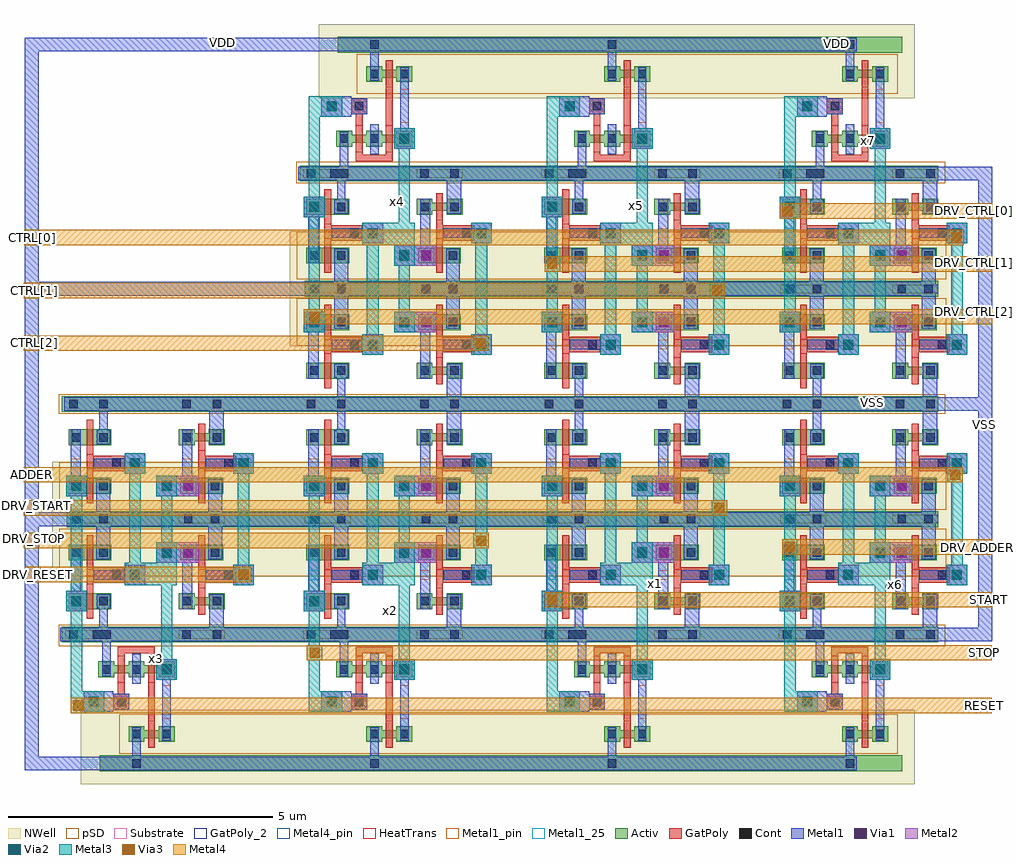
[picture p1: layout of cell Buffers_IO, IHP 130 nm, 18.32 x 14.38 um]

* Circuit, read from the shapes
.subckt Buffers_IO ADDER CTRL[0] CTRL[1] CTRL[2] DRV_ADDER DRV_CTRL[0] DRV_CTRL[1] DRV_CTRL[2] DRV_RESET DRV_START DRV_STOP RESET START STOP VDD VSS
XM1 VSS Buffers_14_0/Modi_Buffers_placement$1_9/INV05$1_4/VOUT RESET VSS sg13_lv_nmos w=0.3u l=0.13u m=2
XM2 n1 RESET VSS VSS sg13_lv_nmos w=0.15u l=0.13u
XM3 Buffers_14_0/Modi_Buffers_placement$1_9/INV05$1_4/VOUT RESET n1 VSS sg13_lv_nmos w=0.15u l=0.13u
XM4 VSS DRV_RESET Buffers_14_0/Modi_Buffers_placement$1_9/INV05$1_4/VOUT VSS sg13_lv_nmos w=0.15u l=0.13u m=2
XM5 VSS Buffers_14_1/Modi_Buffers_placement$1_9/INV05$1_4/VOUT STOP VSS sg13_lv_nmos w=0.3u l=0.13u m=2
XM6 VSS Buffers_0_0/Modi_Buffers_placement$1_9/INV05$1_4/VOUT DRV_CTRL[2] VSS sg13_lv_nmos w=0.3u l=0.13u m=2
XM7 n2 STOP VSS VSS sg13_lv_nmos w=0.15u l=0.13u
XM8 n3 DRV_CTRL[2] VSS VSS sg13_lv_nmos w=0.15u l=0.13u
XM9 Buffers_14_1/Modi_Buffers_placement$1_9/INV05$1_4/VOUT STOP n2 VSS sg13_lv_nmos w=0.15u l=0.13u
XM10 Buffers_0_0/Modi_Buffers_placement$1_9/INV05$1_4/VOUT DRV_CTRL[2] n3 VSS sg13_lv_nmos w=0.15u l=0.13u
XM11 VSS DRV_STOP Buffers_14_1/Modi_Buffers_placement$1_9/INV05$1_4/VOUT VSS sg13_lv_nmos w=0.15u l=0.13u m=2
XM12 VSS CTRL[2] Buffers_0_0/Modi_Buffers_placement$1_9/INV05$1_4/VOUT VSS sg13_lv_nmos w=0.15u l=0.13u m=2
XM13 VSS Buffers_14_2/Modi_Buffers_placement$1_9/INV05$1_4/VOUT START VSS sg13_lv_nmos w=0.3u l=0.13u m=2
XM14 VSS Buffers_0_1/Modi_Buffers_placement$1_9/INV05$1_4/VOUT DRV_CTRL[1] VSS sg13_lv_nmos w=0.3u l=0.13u m=2
XM15 n4 START VSS VSS sg13_lv_nmos w=0.15u l=0.13u
XM16 n5 DRV_CTRL[1] VSS VSS sg13_lv_nmos w=0.15u l=0.13u
XM17 Buffers_14_2/Modi_Buffers_placement$1_9/INV05$1_4/VOUT START n4 VSS sg13_lv_nmos w=0.15u l=0.13u
XM18 Buffers_0_1/Modi_Buffers_placement$1_9/INV05$1_4/VOUT DRV_CTRL[1] n5 VSS sg13_lv_nmos w=0.15u l=0.13u
XM19 VSS DRV_START Buffers_14_2/Modi_Buffers_placement$1_9/INV05$1_4/VOUT VSS sg13_lv_nmos w=0.15u l=0.13u m=2
XM20 VSS CTRL[1] Buffers_0_1/Modi_Buffers_placement$1_9/INV05$1_4/VOUT VSS sg13_lv_nmos w=0.15u l=0.13u m=2
XM21 VSS Buffers_14_3/Modi_Buffers_placement$1_9/INV05$1_4/VOUT DRV_ADDER VSS sg13_lv_nmos w=0.3u l=0.13u m=2
XM22 VSS Buffers_0_2/Modi_Buffers_placement$1_9/INV05$1_4/VOUT DRV_CTRL[0] VSS sg13_lv_nmos w=0.3u l=0.13u m=2
XM23 n6 DRV_ADDER VSS VSS sg13_lv_nmos w=0.15u l=0.13u
XM24 n7 DRV_CTRL[0] VSS VSS sg13_lv_nmos w=0.15u l=0.13u
XM25 Buffers_14_3/Modi_Buffers_placement$1_9/INV05$1_4/VOUT DRV_ADDER n6 VSS sg13_lv_nmos w=0.15u l=0.13u
XM26 Buffers_0_2/Modi_Buffers_placement$1_9/INV05$1_4/VOUT DRV_CTRL[0] n7 VSS sg13_lv_nmos w=0.15u l=0.13u
XM27 VSS ADDER Buffers_14_3/Modi_Buffers_placement$1_9/INV05$1_4/VOUT VSS sg13_lv_nmos w=0.15u l=0.13u m=2
XM28 VSS CTRL[0] Buffers_0_2/Modi_Buffers_placement$1_9/INV05$1_4/VOUT VSS sg13_lv_nmos w=0.15u l=0.13u m=2
XM29 VDD Buffers_14_0/Modi_Buffers_placement$1_9/INV05$1_4/VOUT RESET VDD sg13_lv_pmos w=0.3u l=0.13u m=2
XM30 Buffers_14_0/Modi_Buffers_placement$1_9/INV05$1_4/VOUT RESET VDD VDD sg13_lv_pmos w=0.15u l=0.13u
XM31 VDD DRV_RESET Buffers_14_0/Modi_Buffers_placement$1_9/INV05$1_4/VOUT VDD sg13_lv_pmos w=0.3u l=0.13u m=2
XM32 VDD Buffers_14_1/Modi_Buffers_placement$1_9/INV05$1_4/VOUT STOP VDD sg13_lv_pmos w=0.3u l=0.13u m=2
XM33 VDD Buffers_0_0/Modi_Buffers_placement$1_9/INV05$1_4/VOUT DRV_CTRL[2] VDD sg13_lv_pmos w=0.3u l=0.13u m=2
XM34 Buffers_14_1/Modi_Buffers_placement$1_9/INV05$1_4/VOUT STOP VDD VDD sg13_lv_pmos w=0.15u l=0.13u
XM35 Buffers_0_0/Modi_Buffers_placement$1_9/INV05$1_4/VOUT DRV_CTRL[2] VDD VDD sg13_lv_pmos w=0.15u l=0.13u
XM36 VDD DRV_STOP Buffers_14_1/Modi_Buffers_placement$1_9/INV05$1_4/VOUT VDD sg13_lv_pmos w=0.3u l=0.13u m=2
XM37 VDD CTRL[2] Buffers_0_0/Modi_Buffers_placement$1_9/INV05$1_4/VOUT VDD sg13_lv_pmos w=0.3u l=0.13u m=2
XM38 VDD Buffers_14_2/Modi_Buffers_placement$1_9/INV05$1_4/VOUT START VDD sg13_lv_pmos w=0.3u l=0.13u m=2
XM39 VDD Buffers_0_1/Modi_Buffers_placement$1_9/INV05$1_4/VOUT DRV_CTRL[1] VDD sg13_lv_pmos w=0.3u l=0.13u m=2
XM40 Buffers_14_2/Modi_Buffers_placement$1_9/INV05$1_4/VOUT START VDD VDD sg13_lv_pmos w=0.15u l=0.13u
XM41 Buffers_0_1/Modi_Buffers_placement$1_9/INV05$1_4/VOUT DRV_CTRL[1] VDD VDD sg13_lv_pmos w=0.15u l=0.13u
XM42 VDD DRV_START Buffers_14_2/Modi_Buffers_placement$1_9/INV05$1_4/VOUT VDD sg13_lv_pmos w=0.3u l=0.13u m=2
XM43 VDD CTRL[1] Buffers_0_1/Modi_Buffers_placement$1_9/INV05$1_4/VOUT VDD sg13_lv_pmos w=0.3u l=0.13u m=2
XM44 VDD Buffers_14_3/Modi_Buffers_placement$1_9/INV05$1_4/VOUT DRV_ADDER VDD sg13_lv_pmos w=0.3u l=0.13u m=2
XM45 VDD Buffers_0_2/Modi_Buffers_placement$1_9/INV05$1_4/VOUT DRV_CTRL[0] VDD sg13_lv_pmos w=0.3u l=0.13u m=2
XM46 Buffers_14_3/Modi_Buffers_placement$1_9/INV05$1_4/VOUT DRV_ADDER VDD VDD sg13_lv_pmos w=0.15u l=0.13u
XM47 Buffers_0_2/Modi_Buffers_placement$1_9/INV05$1_4/VOUT DRV_CTRL[0] VDD VDD sg13_lv_pmos w=0.15u l=0.13u
XM48 VDD ADDER Buffers_14_3/Modi_Buffers_placement$1_9/INV05$1_4/VOUT VDD sg13_lv_pmos w=0.3u l=0.13u m=2
XM49 VDD CTRL[0] Buffers_0_2/Modi_Buffers_placement$1_9/INV05$1_4/VOUT VDD sg13_lv_pmos w=0.3u l=0.13u m=2
.ends

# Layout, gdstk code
from math import pi, radians
import gdstk
lib = gdstk.Library(unit=1e-6, precision=5e-09)
def R(c, l, rs):  # rectangles x0, y0, x1, y1
    for r in rs: c.add(gdstk.rectangle(r[:2], r[2:], *l))
def A(c, l, x, y, w, h, nx, ny, dx, dy):  # array of equal rectangles
    R(c, l, [(x+i*dx, y+j*dy, x+i*dx+w, y+j*dy+h) for i in range(nx) for j in range(ny)])
Activ = (1, 0)
GatPoly = (5, 0)
GatPoly_2 = (5, 2)
Cont = (6, 0)
Metal1 = (8, 0)
Metal1_pin = (8, 2)
Metal1_25 = (8, 25)
Metal2 = (10, 0)
pSD = (14, 0)
Via1 = (19, 0)
Via2 = (29, 0)
Metal3 = (30, 0)
NWell = (31, 0)
Substrate = (40, 0)
Via3 = (49, 0)
Metal4 = (50, 0)
Metal4_pin = (50, 2)
HeatTrans = (51, 0)

via2_constraint_1 = lib.new_cell('VIA2_constraint$1')
R(via2_constraint_1, Metal2, [(-0.295,-0.095,0.095,0.295)])
R(via2_constraint_1, Via2, [(-0.195,0.005,-0.005,0.195)])
R(via2_constraint_1, Metal3, [(-0.295,-0.095,0.095,0.295)])

via1_constraint_1 = lib.new_cell('VIA1_constraint$1')
R(via1_constraint_1, Metal1, [(-0.39,0,0,0.39)])
R(via1_constraint_1, Metal2, [(-0.39,0,0,0.39)])
R(via1_constraint_1, Via1, [(-0.29,0.1,-0.1,0.29)])

pmos_1_12 = lib.new_cell('pmos$1$12')
R(pmos_1_12, Activ, [(-0.81,0,-0.51,0.3), (-0.81,0,0,0.3), (-0.3,0,0,0.3)])
R(pmos_1_12, GatPoly, [(-0.47,-0.18,-0.34,0.48), (-0.47,-0.18,-0.34,0.48)])
R(pmos_1_12, Cont, [(-0.74,0.07,-0.58,0.23), (-0.23,0.07,-0.07,0.23)])
R(pmos_1_12, Metal1, [(-0.74,0,-0.58,0.3), (-0.74,0,-0.58,0.3), (-0.28,0.02,-0.02,0.3), (-0.23,0.07,-0.07,0.3)])
R(pmos_1_12, pSD, [(-0.99,-0.3,0.18,0.6)])
R(pmos_1_12, NWell, [(-1.12,-0.31,0.31,0.61)])
R(pmos_1_12, Substrate, [(-0.81,0,-0.51,0.3)])
R(pmos_1_12, HeatTrans, [(-0.47,-0.18,-0.34,0.48)])
pmos_1_12.add(gdstk.Label('pmos', (-0.405,0.15), layer=63, texttype=0))
pmos_1_12.add(gdstk.Label('pmos', (-0.405,0.15), layer=51, texttype=0))

nmos_1_7 = lib.new_cell('nmos$1$7')
R(nmos_1_7, Activ, [(-0.87,0,-0.57,0.3), (-0.3,0,0,0.3), (-0.87,0.075,0,0.225)])
R(nmos_1_7, GatPoly, [(-0.5,-0.105,-0.37,0.405)])
R(nmos_1_7, GatPoly_2, [(-0.5,-0.105,-0.37,0.405)])
R(nmos_1_7, Cont, [(-0.8,0.07,-0.64,0.23), (-0.23,0.07,-0.07,0.23)])
R(nmos_1_7, Metal1, [(-0.8,0.02,-0.64,0.28), (-0.23,0.02,-0.07,0.225)])
R(nmos_1_7, Metal1_pin, [(-0.8,0.02,-0.64,0.28), (-0.23,0.02,-0.07,0.23)])
R(nmos_1_7, HeatTrans, [(-0.5,-0.105,-0.37,0.405)])
nmos_1_7.add(gdstk.Label('nmos', (-0.435,0.15), layer=63, texttype=0))
nmos_1_7.add(gdstk.Label('nmos', (-0.435,0.15), layer=51, texttype=0))

inv_d1_12 = lib.new_cell('INV_D1$12')
R(inv_d1_12, Activ, [(-1.15,-0.045,-0.28,0.255), (-1.15,2.135,-0.28,2.435)])
R(inv_d1_12, GatPoly, [(-0.65,1.08,-0.06,1.38), (-0.78,1.11,-0.65,1.325)])
R(inv_d1_12, GatPoly_2, [(-0.65,1.08,-0.06,1.38)])
R(inv_d1_12, Cont, [(-1.08,0.025,-0.92,0.185), (-0.51,0.025,-0.35,0.185), (-0.29,1.15,-0.13,1.31), (-1.05,2.205,-0.89,2.365), (-0.54,2.205,-0.38,2.365)])
R(inv_d1_12, Metal1, [(-0.575,-0.025,-0.3,0.025), (-1.15,0.025,-0.28,0.185), (-0.575,0.025,-0.3,0.865), (-0.64,1.14,-0.07,1.32), (-0.59,1.575,-0.33,2.365), (-1.15,2.205,-0.28,2.365), (-0.59,2.365,-0.33,2.415)])
R(inv_d1_12, Metal1_pin, [(-1.15,0.025,-0.28,0.185), (-1.08,1.14,-0.89,1.32), (-0.64,1.14,-0.07,1.32), (-1.15,2.205,-0.28,2.365)])
R(inv_d1_12, pSD, [(-1.28,-0.075,-0.15,0.285)])
R(inv_d1_12, NWell, [(-1.43,2.115,0,2.675)])
R(inv_d1_12, Substrate, [(-1.12,1.505,-0.82,1.805)])
inv_d1_12.add(gdstk.FlexPath([(-0.985,0.585),(-0.985,1.805)], 0.19, ends="flush", simple_path=True, layer=8, datatype=0))  # Metal1
inv_d1_12.add(gdstk.FlexPath([(-0.715,1.11),(-0.715,0.99)], 0.13, ends="flush", simple_path=True, layer=5, datatype=0))  # GatPoly
inv_d1_12.add(gdstk.Reference(pmos_1_12, (-0.31,1.505)))
inv_d1_12.add(gdstk.Reference(nmos_1_7, (-0.28,0.585)))
inv_d1_12.add(gdstk.Label('nmos', (-0.715,0.655), layer=63, texttype=0))
inv_d1_12.add(gdstk.Label('VSS', (-0.65,0.1), layer=8, texttype=25))
inv_d1_12.add(gdstk.Label('VIN', (-0.285,1.175), layer=8, texttype=25))
inv_d1_12.add(gdstk.Label('VOUT', (-1.03,1.165), layer=8, texttype=25))
inv_d1_12.add(gdstk.Label('VDD', (-0.655,2.28), layer=8, texttype=25))

pmos_2_5 = lib.new_cell('pmos$2$5')
R(pmos_2_5, Activ, [(-0.81,0,-0.51,0.3), (-0.81,0,0,0.3), (-0.3,0,0,0.3)])
R(pmos_2_5, GatPoly, [(-0.47,-0.18,-0.34,0.48), (-0.47,-0.18,-0.34,0.48)])
R(pmos_2_5, Cont, [(-0.74,0.07,-0.58,0.23), (-0.23,0.07,-0.07,0.23)])
R(pmos_2_5, Metal1, [(-0.74,0,-0.58,0.3), (-0.74,0,-0.58,0.3)])
R(pmos_2_5, pSD, [(-0.99,-0.3,0.18,0.6)])
R(pmos_2_5, NWell, [(-1.12,-0.31,0.31,0.61)])
R(pmos_2_5, Substrate, [(-0.81,0,-0.51,0.3)])
R(pmos_2_5, HeatTrans, [(-0.47,-0.18,-0.34,0.48)])
pmos_2_5.add(gdstk.Label('pmos', (-0.405,0.15), layer=63, texttype=0))
pmos_2_5.add(gdstk.Label('pmos', (-0.405,0.15), layer=51, texttype=0))

nmos_2_6 = lib.new_cell('nmos$2$6')
R(nmos_2_6, Activ, [(-0.81,0,-0.51,0.3), (-0.81,0,0,0.3), (-0.3,0,0,0.3)])
R(nmos_2_6, GatPoly, [(-0.47,-0.18,-0.34,0.48)])
R(nmos_2_6, GatPoly_2, [(-0.47,-0.18,-0.34,0.48)])
R(nmos_2_6, Cont, [(-0.74,0.07,-0.58,0.23), (-0.23,0.07,-0.07,0.23)])
R(nmos_2_6, Metal1, [(-0.74,0,-0.58,0.3)])
R(nmos_2_6, Metal1_pin, [(-0.74,0,-0.58,0.3)])
R(nmos_2_6, HeatTrans, [(-0.47,-0.18,-0.34,0.48)])
nmos_2_6.add(gdstk.Label('nmos', (-0.405,0.15), layer=63, texttype=0))
nmos_2_6.add(gdstk.Label('nmos', (-0.405,0.15), layer=51, texttype=0))

inv_d1_1_7 = lib.new_cell('INV_D1$1$7')
R(inv_d1_1_7, Activ, [(-1.25,-0.045,-0.31,0.255), (-1.15,2.135,-0.28,2.435)])
R(inv_d1_1_7, GatPoly, [(-0.65,1.08,-0.06,1.38), (-0.78,1.11,-0.65,1.325)])
R(inv_d1_1_7, GatPoly_2, [(-0.65,1.08,-0.06,1.38)])
R(inv_d1_1_7, Cont, [(-1.11,0.025,-0.95,0.185), (-0.54,0.025,-0.38,0.185), (-0.29,1.15,-0.13,1.31), (-1.05,2.205,-0.89,2.365), (-0.54,2.205,-0.38,2.365)])
R(inv_d1_1_7, Metal1, [(-1.18,0.025,-0.31,0.185), (-0.64,1.14,-0.07,1.32), (-1.15,2.205,-0.28,2.365)])
R(inv_d1_1_7, Metal1_pin, [(-1.18,0.025,-0.31,0.185), (-1.08,1.14,-0.89,1.32), (-0.64,1.14,-0.07,1.32), (-1.15,2.205,-0.28,2.365)])
R(inv_d1_1_7, pSD, [(-1.31,-0.075,-0.18,0.285)])
R(inv_d1_1_7, NWell, [(-1.43,2.115,0,2.675)])
R(inv_d1_1_7, Substrate, [(-1.12,1.505,-0.82,1.805)])
inv_d1_1_7.add(gdstk.FlexPath([(-0.985,0.585),(-0.985,1.805)], 0.19, ends="flush", simple_path=True, layer=8, datatype=0))  # Metal1
inv_d1_1_7.add(gdstk.FlexPath([(-0.715,1.11),(-0.715,0.99)], 0.13, ends="flush", simple_path=True, layer=5, datatype=0))  # GatPoly
inv_d1_1_7.add(gdstk.Reference(pmos_2_5, (-0.31,1.505)))
inv_d1_1_7.add(gdstk.Reference(nmos_2_6, (-0.31,0.585)))
inv_d1_1_7.add(gdstk.Label('nmos', (-0.745,0.655), layer=63, texttype=0))
inv_d1_1_7.add(gdstk.Label('VSS', (-0.68,0.1), layer=8, texttype=25))
inv_d1_1_7.add(gdstk.Label('VIN', (-0.285,1.175), layer=8, texttype=25))
inv_d1_1_7.add(gdstk.Label('VOUT', (-1.03,1.165), layer=8, texttype=25))
inv_d1_1_7.add(gdstk.Label('VDD', (-0.655,2.28), layer=8, texttype=25))

inv_d2_1 = lib.new_cell('INV_D2$1')
R(inv_d2_1, Metal1, [(-10.345,-0.74,-10.185,0.05), (-10.395,-0.16,-10.135,0.1), (-10.4,0.76,-10.135,1.6)])
inv_d2_1.add(gdstk.Reference(inv_d1_1_7, (-9.805,-0.765)))

pmos_9 = lib.new_cell('pmos$9')
R(pmos_9, Activ, [(-0.87,0,-0.57,0.3), (-0.3,0,0,0.3), (-0.87,0.075,0,0.225)])
R(pmos_9, GatPoly, [(-0.5,-0.105,-0.37,0.405), (-0.5,-0.105,-0.37,0.405)])
R(pmos_9, Cont, [(-0.8,0.07,-0.64,0.23), (-0.23,0.07,-0.07,0.23)])
R(pmos_9, Metal1, [(-0.8,0.02,-0.64,0.28), (-0.8,0.02,-0.64,0.28), (-0.23,0.02,-0.07,0.28), (-0.23,0.02,-0.07,0.28)])
R(pmos_9, pSD, [(-1.05,-0.225,0.18,0.525)])
R(pmos_9, NWell, [(-1.18,-0.31,0.31,0.61)])
R(pmos_9, Substrate, [(-0.87,0,-0.57,0.3)])
R(pmos_9, HeatTrans, [(-0.5,-0.105,-0.37,0.405)])
pmos_9.add(gdstk.Label('pmos', (-0.435,0.15), layer=63, texttype=0))
pmos_9.add(gdstk.Label('pmos', (-0.435,0.15), layer=51, texttype=0))

nmos_16 = lib.new_cell('nmos$16')
R(nmos_16, Activ, [(-0.87,0,-0.57,0.3), (-0.3,0,0,0.3), (-0.87,0.075,0,0.225)])
R(nmos_16, GatPoly, [(-0.5,-0.105,-0.37,0.405)])
R(nmos_16, GatPoly_2, [(-0.5,-0.105,-0.37,0.405)])
R(nmos_16, Cont, [(-0.8,0.07,-0.64,0.23), (-0.23,0.07,-0.07,0.23)])
R(nmos_16, Metal1, [(-0.8,0.02,-0.64,0.28), (-0.23,0.02,-0.07,0.28)])
R(nmos_16, Metal1_pin, [(-0.8,0.02,-0.64,0.28), (-0.23,0.02,-0.07,0.28)])
R(nmos_16, HeatTrans, [(-0.5,-0.105,-0.37,0.405)])
nmos_16.add(gdstk.Label('nmos', (-0.435,0.15), layer=63, texttype=0))
nmos_16.add(gdstk.Label('nmos', (-0.435,0.15), layer=51, texttype=0))

inv05_1 = lib.new_cell('INV05$1')
R(inv05_1, Activ, [(-1.21,-1.89,0.47,-1.59), (-1.245,0.55,0.435,0.85)])
R(inv05_1, GatPoly, [(-0.125,-0.615,0.175,-0.315)])
R(inv05_1, GatPoly_2, [(-0.04,-0.945,0.09,-0.825)])
R(inv05_1, Cont, [(0.23,-1.82,0.39,-1.66), (-0.055,-0.545,0.105,-0.385), (-0.34,0.62,-0.18,0.78)])
R(inv05_1, Metal1, [(0.18,-1.87,0.44,-1.61), (-0.34,-1.375,-0.18,-0.805), (-0.125,-0.615,0.175,-0.315), (-0.39,0.57,-0.13,0.83)])
R(inv05_1, Metal1_pin, [(0.23,-1.82,0.39,-1.66), (-0.91,-0.78,-0.75,-0.14), (-0.34,0.62,-0.18,0.78)])
R(inv05_1, pSD, [(-2.06,-1.92,1.215,-1.52)])
R(inv05_1, NWell, [(-1.485,-0.315,-1.29,0.605), (0.2,-0.315,0.675,0.605), (-1.485,0.605,0.675,1.09)])
inv05_1.add(gdstk.FlexPath([(-0.83,-0.95),(-0.83,0.015)], 0.16, ends="flush", simple_path=True, layer=8, datatype=0))  # Metal1
inv05_1.add(gdstk.FlexPath([(0.31,-1.82),(0.31,-1.21)], 0.16, ends="flush", simple_path=True, layer=8, datatype=0))  # Metal1
inv05_1.add(gdstk.FlexPath([(-0.26,0.275),(-0.26,0.78)], 0.16, ends="flush", simple_path=True, layer=8, datatype=0))  # Metal1
inv05_1.add(gdstk.FlexPath([(0.025,-1.335),(0.025,-1.445),(-0.545,-1.445),(-0.545,-1.335)], 0.13, ends="flush", simple_path=True, layer=5, datatype=0))  # GatPoly
inv05_1.add(gdstk.FlexPath([(-0.545,-0.825),(-0.545,-0.11)], 0.13, ends="flush", simple_path=True, layer=5, datatype=0))  # GatPoly
inv05_1.add(gdstk.FlexPath([(0.025,-0.825),(0.025,-0.465)], 0.13, ends="flush", simple_path=True, layer=5, datatype=0))  # GatPoly
inv05_1.add(gdstk.Reference(pmos_9, (-0.11,-0.005)))
inv05_1.add(gdstk.Reference(nmos_16, (0.46,-1.23)))
inv05_1.add(gdstk.Reference(nmos_16, (-0.11,-1.23)))
inv05_1.add(gdstk.Label('VDD', (-0.29,0.82), layer=8, texttype=2))
inv05_1.add(gdstk.Label('VSS', (0.275,-1.645), layer=8, texttype=2))
inv05_1.add(gdstk.Label('VOUT', (-0.88,-0.17), layer=8, texttype=2))
inv05_1.add(gdstk.Label('VIN', (0,-0.85), layer=5, texttype=2))

modi_buffers_placement_1 = lib.new_cell('Modi_Buffers_placement$1')
R(modi_buffers_placement_1, Activ, [(-3.265,-2.2,-0.28,-1.9), (-3.295,2.16,-0.28,2.46)])
R(modi_buffers_placement_1, Metal1, [(-2.165,-2.13,-0.35,-1.97)])
R(modi_buffers_placement_1, pSD, [(-3.395,-2.23,-0.15,-1.87), (-3.415,-0.95,-0.13,-0.05), (-3.415,0.31,-0.13,1.21), (-3.425,2.13,-0.15,2.49)])
modi_buffers_placement_1.add(gdstk.Reference(inv_d1_12, (0,2.415), x_reflection=True))
modi_buffers_placement_1.add(gdstk.Reference(inv_d1_12, (0,-2.155)))
modi_buffers_placement_1.add(gdstk.Reference(inv_d2_1, (7.69,-1.39)))
modi_buffers_placement_1.add(gdstk.Reference(inv_d2_1, (7.69,1.65), x_reflection=True))
modi_buffers_placement_1.add(gdstk.Reference(inv05_1, (-2.21,-3.79), rotation=pi))

buffers = lib.new_cell('Buffers')
R(buffers, Cont, [(-3.52,2.75,-3.18,2.91)])
R(buffers, Metal1, [(-3.3,1.365,-3.125,1.755), (-3.59,1.465,-2.895,1.655), (-4.13,2.7,-1.09,2.96), (-3.52,2.7,-3.18,2.96), (-3.145,3.865,-2.625,4.05), (-1.03,3.865,-0.555,4.045), (-2.315,4.185,-1.515,4.575), (-4.13,4.93,-1.02,5.09), (-2.315,5.445,-1.515,5.835), (-3.145,5.975,-2.625,6.16), (-1.03,5.975,-0.555,6.155), (-4.06,7.06,-1.04,7.32)])
R(buffers, Metal1_pin, [(-3.935,3.865,-3.745,4.045), (-1.03,3.875,-0.87,4.035)])
R(buffers, Metal1_25, [(-3.935,3.865,-3.745,4.045), (-1.03,3.875,-0.87,4.035)])
R(buffers, Metal2, [(-2.315,4.185,-1.515,4.575), (-2.315,5.445,-1.515,5.835)])
R(buffers, pSD, [(-4.165,2.61,-1.665,2.65), (-1.665,2.61,-0.89,2.65)])
R(buffers, Metal3, [(-3.93,1.365,-3.3,1.755), (-3.93,1.465,-3.72,3.555), (-2.225,2.075,-2.015,4.44), (-3.93,3.365,-3.72,5.735), (-2.915,3.76,-1.925,4.185), (-2.83,3.86,-2.61,6.16), (-0.775,3.86,-0.555,6.16), (-2.225,4.285,-2.015,5.735)])
buffers.add(gdstk.Reference(via2_constraint_1, (-2.02,5.54)))
buffers.add(gdstk.Reference(via2_constraint_1, (-0.565,3.855)))
buffers.add(gdstk.Reference(via2_constraint_1, (-2.02,4.28)))
buffers.add(gdstk.Reference(via1_constraint_1, (-1.515,5.445)))
buffers.add(gdstk.Reference(via1_constraint_1, (-1.515,4.185)))
buffers.add(gdstk.Reference(via1_constraint_1, (-1.925,5.445)))
buffers.add(gdstk.Reference(via1_constraint_1, (-1.925,4.185)))
buffers.add(gdstk.Reference(via2_constraint_1, (-2.02,2.07)))
buffers.add(gdstk.Reference(via1_constraint_1, (-1.925,1.975)))
buffers.add(gdstk.Reference(modi_buffers_placement_1, (-0.74,4.88)))
buffers.add(gdstk.Reference(via2_constraint_1, (-3.725,5.54)))
buffers.add(gdstk.Reference(via1_constraint_1, (-3.63,5.445)))
buffers.add(gdstk.Reference(via1_constraint_1, (-3.63,3.265)))
buffers.add(gdstk.Reference(via2_constraint_1, (-3.725,3.36)))
buffers.add(gdstk.Reference(via2_constraint_1, (-3.395,1.46)))
buffers.add(gdstk.Reference(via1_constraint_1, (-3.3,1.365)))
buffers.add(gdstk.Reference(via2_constraint_1, (-0.565,5.965)))
buffers.add(gdstk.Reference(via1_constraint_1, (-0.47,5.87)))
buffers.add(gdstk.Reference(via1_constraint_1, (-0.47,3.76)))
buffers.add(gdstk.Reference(via1_constraint_1, (-2.525,5.87)))
buffers.add(gdstk.Reference(via2_constraint_1, (-2.62,5.965)))
buffers.add(gdstk.Reference(via1_constraint_1, (-2.525,3.76)))
buffers.add(gdstk.Reference(via2_constraint_1, (-2.62,3.855)))
buffers.add(gdstk.Label('VDD', (-2.705,0.395), layer=8, texttype=25))
buffers.add(gdstk.Label('VSS', (-1.695,7.2), layer=8, texttype=25))
buffers.add(gdstk.Label('OUT', (-3.86,3.97), layer=8, texttype=25))
buffers.add(gdstk.Label('IN', (-0.95,3.955), layer=8, texttype=25))

via3_constraint_8 = lib.new_cell('Via3_constraint$8')
R(via3_constraint_8, Metal3, [(-0.29,0,0,0.29)])
R(via3_constraint_8, Via3, [(-0.24,0.05,-0.05,0.24)])
R(via3_constraint_8, Metal4, [(-0.29,0,0,0.29)])

buffers_io = lib.new_cell('Buffers_IO')
R(buffers_io, Activ, [(1.665,0.24,16.845,0.54), (0.945,2.68,17.53,2.98), (1.045,4.86,17.53,5.16), (0.945,7.04,17.53,7.34), (5.545,9.22,17.53,9.52), (5.445,11.4,17.53,11.7), (6.165,13.84,16.845,14.14)])
R(buffers_io, Metal1, [(0.245,0.26,15.99,0.52), (0.245,0.26,0.51,14.12), (0.92,2.7,18.55,2.96), (18.285,2.7,18.55,11.68), (0.245,4.875,17.48,5.14), (0.99,7.06,18.55,7.32), (0.245,9.24,17.48,9.5), (5.42,11.42,18.55,11.68), (0.51,13.86,15.99,14.12)])
R(buffers_io, Metal1_pin, [(0.99,7.06,17.53,7.32), (6.165,13.86,15.99,14.12)])
R(buffers_io, pSD, [(2.03,0.57,16.76,1.32), (0.885,2.61,17.66,3.01), (0.895,3.93,17.68,4.83), (0.895,5.19,17.68,6.09), (0.885,7.01,17.66,7.37), (5.395,8.29,17.68,9.19), (5.395,9.55,17.68,10.45), (5.385,11.37,17.66,11.77), (6.53,13.06,16.76,13.81)])
R(buffers_io, NWell, [(1.305,0,17.085,1.405), (0.765,3.92,17.81,6.1), (5.265,8.28,17.81,10.46), (5.805,12.975,17.085,14.38), (5.805,12.975,17.085,14.38)])
A(buffers_io, Metal4, 18.26, 8.695, 0.29, 0.29, 1, 3, 0, 1)
R(buffers_io, Metal4, [(1.12,1.34,18.545,1.63), (18.255,1.34,18.545,1.63), (5.62,2.34,18.545,2.63), (18.255,2.34,18.545,2.63), (10.085,3.34,18.55,3.63), (18.26,3.34,18.55,3.63), (0.26,3.82,0.55,4.11), (0.26,3.82,4.53,4.11), (14.575,4.34,18.55,4.63), (18.26,4.34,18.55,4.63), (0.23,4.465,0.52,4.755), (0.23,4.465,9.025,4.755), (0.23,5.08,0.52,5.37), (0.23,5.08,13.535,5.37), (0.23,5.705,0.52,5.995), (0.23,5.705,17.995,5.995), (0.23,8.195,0.52,8.485), (0.23,8.195,9.015,8.485), (5.53,8.695,18.55,8.985), (0.23,9.195,0.52,9.485), (0.23,9.195,13.495,9.485), (10.085,9.695,18.55,9.985), (0.235,10.195,0.525,10.485), (0.235,10.195,18.015,10.485), (14.53,10.695,18.55,10.985)])
A(buffers_io, Metal4_pin, 18.26, 8.695, 0.29, 0.29, 1, 3, 0, 1)
R(buffers_io, Metal4_pin, [(18.255,1.34,18.545,1.63), (18.255,2.34,18.545,2.63), (18.26,3.34,18.55,3.63), (0.26,3.82,0.55,4.11), (18.26,4.34,18.55,4.63), (0.23,4.465,0.52,4.755), (0.23,5.08,0.52,5.37), (0.23,8.195,0.52,8.485), (0.23,9.195,0.52,9.485), (0.235,10.195,0.525,10.485)])
r = gdstk.Reference(buffers, (9.55,14.38), x_reflection=True); r.repetition = gdstk.Repetition(3, 1, v1=(4.5,0), v2=(0,0)); buffers_io.add(r)
buffers_io.add(gdstk.Reference(via3_constraint_8, (14.575,4.34), rotation=3*pi/2))
buffers_io.add(gdstk.Reference(via3_constraint_8, (10.085,3.34), rotation=3*pi/2))
buffers_io.add(gdstk.Reference(via3_constraint_8, (5.585,2.34), rotation=3*pi/2))
buffers_io.add(gdstk.Reference(via3_constraint_8, (1.115,1.34), rotation=3*pi/2))
buffers_io.add(gdstk.Reference(via3_constraint_8, (14.53,10.695), rotation=3*pi/2))
buffers_io.add(gdstk.Reference(via3_constraint_8, (17.725,10.195), rotation=3*pi/2))
buffers_io.add(gdstk.Reference(via3_constraint_8, (10.085,9.695), rotation=3*pi/2))
buffers_io.add(gdstk.Reference(via3_constraint_8, (13.205,9.195), rotation=3*pi/2))
buffers_io.add(gdstk.Reference(via3_constraint_8, (5.585,8.695), rotation=3*pi/2))
buffers_io.add(gdstk.Reference(via3_constraint_8, (8.725,8.195), rotation=3*pi/2))
buffers_io.add(gdstk.Reference(via3_constraint_8, (8.735,4.46), rotation=3*pi/2))
buffers_io.add(gdstk.Reference(via3_constraint_8, (13.245,5.08), rotation=3*pi/2))
buffers_io.add(gdstk.Reference(via3_constraint_8, (17.705,5.705), rotation=3*pi/2))
r = gdstk.Reference(buffers, (5.05,0)); r.repetition = gdstk.Repetition(4, 1, v1=(4.5,0), v2=(0,0)); buffers_io.add(r)
buffers_io.add(gdstk.Reference(via3_constraint_8, (4.24,3.82), rotation=3*pi/2))
buffers_io.add(gdstk.Label('x1', (12.185,3.795), layer=63, texttype=0))
buffers_io.add(gdstk.Label('x2', (7.165,3.29), layer=63, texttype=0))
buffers_io.add(gdstk.Label('x3', (2.745,2.37), layer=63, texttype=0))
buffers_io.add(gdstk.Label('x6', (16.72,3.78), layer=63, texttype=0))
buffers_io.add(gdstk.Label('x4', (7.295,11.03), layer=63, texttype=0))
buffers_io.add(gdstk.Label('x5', (11.815,10.945), layer=63, texttype=0))
buffers_io.add(gdstk.Label('x7', (16.205,12.185), layer=63, texttype=0))
buffers_io.add(gdstk.Label('VDD', (3.98,14.03), layer=8, texttype=2))
buffers_io.add(gdstk.Label('VSS', (18.41,6.805), layer=8, texttype=2))
buffers_io.add(gdstk.Label('VDD', (15.615,14.01), layer=8, texttype=25))
buffers_io.add(gdstk.Label('VSS', (16.285,7.215), layer=8, texttype=25))
buffers_io.add(gdstk.Label('DRV_START', (0.35,5.265), layer=50, texttype=25))
buffers_io.add(gdstk.Label('DRV_STOP', (0.37,4.64), layer=50, texttype=25))
buffers_io.add(gdstk.Label('DRV_CTRL[0]', (18.45,10.855), layer=50, texttype=25))
buffers_io.add(gdstk.Label('DRV_CTRL[1]', (18.45,9.875), layer=50, texttype=25))
buffers_io.add(gdstk.Label('DRV_CTRL[2]', (18.47,8.935), layer=50, texttype=25))
buffers_io.add(gdstk.Label('CTRL[0]', (0.39,10.34), layer=50, texttype=25))
buffers_io.add(gdstk.Label('CTRL[1]', (0.435,9.335), layer=50, texttype=25))
buffers_io.add(gdstk.Label('CTRL[2]', (0.425,8.345), layer=50, texttype=25))
buffers_io.add(gdstk.Label('START', (18.49,3.485), layer=50, texttype=25))
buffers_io.add(gdstk.Label('STOP', (18.41,2.49), layer=50, texttype=25))
buffers_io.add(gdstk.Label('RESET', (18.4,1.485), layer=50, texttype=25))
buffers_io.add(gdstk.Label('DRV_ADDER', (18.4,4.48), layer=50, texttype=25))
buffers_io.add(gdstk.Label('ADDER', (0.375,5.85), layer=50, texttype=25))
buffers_io.add(gdstk.Label('DRV_RESET', (0.405,3.965), layer=50, texttype=25))

lib.write_gds('Buffers_IO.gds')
